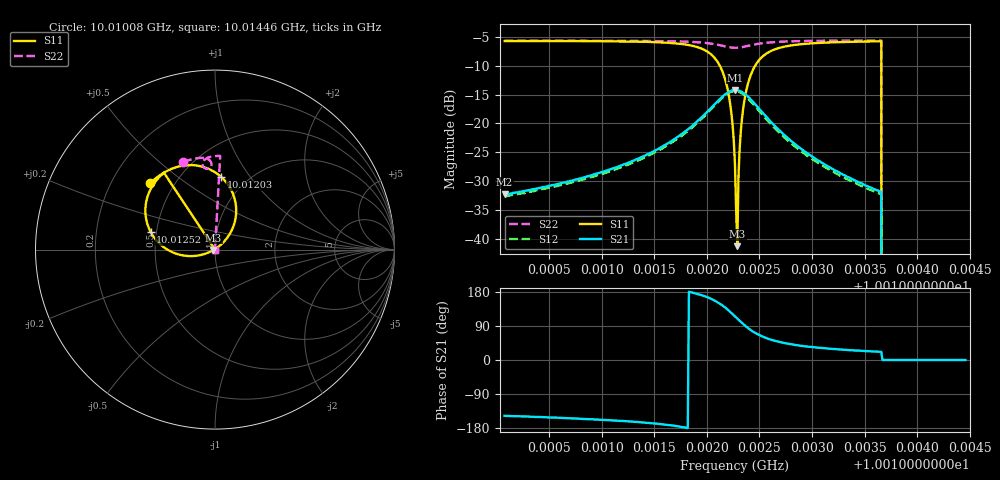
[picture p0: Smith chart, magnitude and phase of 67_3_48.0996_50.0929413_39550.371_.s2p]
#  HZ  S  RI  R  50.00
! Rohde & Schwarz Vector Network Analyzer
! Rohde-Schwarz,ZNB20-2Port,1311601062101988,3.16
! Created: UTC 12/23/2023, 3:41:23 AM
! freq[Hz]  re:S11  im:S11  re:S21  im:S21  re:S12  im:S12  re:S22  im:S22
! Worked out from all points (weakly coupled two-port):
!   401 points, 10.01008 GHz to 10.01446 GHz, reference 50 ohm
!   highest |S21| = -14.21 dB at 10.01227 GHz (marker M1); lowest = -32.3 dB at 10.01008 GHz (marker M2)
!   lowest |S11| = -41.2 dB at 10.01229 GHz (marker M3), VSWR 1.02, Z = 49.2 - j0.229 ohm
!   |S11| at or under -10 dB: 10.01212 GHz to 10.01246 GHz (336.1 kHz wide, 0.00336 % of centre); 10.01366 GHz to end of sweep
!   |S22| runs from - to -5.6 dB; largest |S21 - S12| = 0.0089
!   S11 on the Smith chart (normalised r, x): 10.01008 GHz: 0.37, +0.37; 10.01203 GHz: 0.76, +0.74; 10.01252 GHz: 0.46, +0.11; 10.01446 GHz: 1.00, +0.00
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1.0010075e10  -0.3606 0.3698  -0.0205 -0.0132  -0.0191 -0.0135  -0.1768 0.4878
1.001081e10  -0.3045 0.4164  -0.0307 -0.014  -0.0287 -0.0151  -0.1289 0.5031
1.0011544e10  -0.1956 0.4647  -0.0596 -0.0121  -0.0568 -0.0144  -0.0738 0.511
1.0012026e10  0.0354 0.4039  -0.1267 0.0382  -0.1252 0.0307  -0.025 0.4922
1.0012136e10  0.1106 0.2777  -0.1387 0.0926  -0.14 0.084  -0.0193 0.4724
1.0012201e10  0.1102 0.1535  -0.1246 0.138  -0.1274 0.1302  -0.0252 0.4583
1.0012245e10  0.0681 0.0656  -0.0993 0.1664  -0.1035 0.1585  -0.0345 0.4512
1.0012267e10  0.0334 0.0276  -0.0822 0.1766  -0.087 0.1694  -0.0403 0.4497
1.0012289e10  -0.00836 -0.00233  -0.0637 0.1835  -0.068 0.1767  -0.0463 0.4497
1.00123e10  -0.0312 -0.014  -0.0543 0.1854  -0.0586 0.1789  -0.0494 0.4501
1.0012311e10  -0.0549 -0.0234  -0.045 0.1863  -0.0485 0.1801  -0.0522 0.451
1.0012322e10  -0.079 -0.0301  -0.0355 0.1863  -0.039 0.1802  -0.0549 0.4522
1.0012333e10  -0.1032 -0.0343  -0.026 0.1857  -0.0297 0.1796  -0.0574 0.4537
1.0012366e10  -0.1733 -0.0334  0.000365 0.1786  -0.00458 0.1725  -0.0634 0.4593
1.0012431e10  -0.2824 0.0113  0.0373 0.152  0.0316 0.1468  -0.0687 0.4733
1.0012519e10  -0.359 0.0993  0.0575 0.1133  0.0517 0.11  -0.0658 0.4893
1.0012727e10  -0.3857 0.2506  0.0569 0.0574  0.0519 0.0567  -0.0463 0.5091
1.0013001e10  -0.3551 0.3431  0.0428 0.0291  0.0393 0.0295  -0.021 0.5178
1.0013637e10  -0.2861 0.4266  0.0242 0.0097  0.0226 0.0104  0.0277 0.5219
1.0013692e10  0 0  0 0  0 0  0 0
1.0013736e10  0 0  0 0  0 0  0 0
1.0014459e10  0 0  0 0  0 0  0 0
